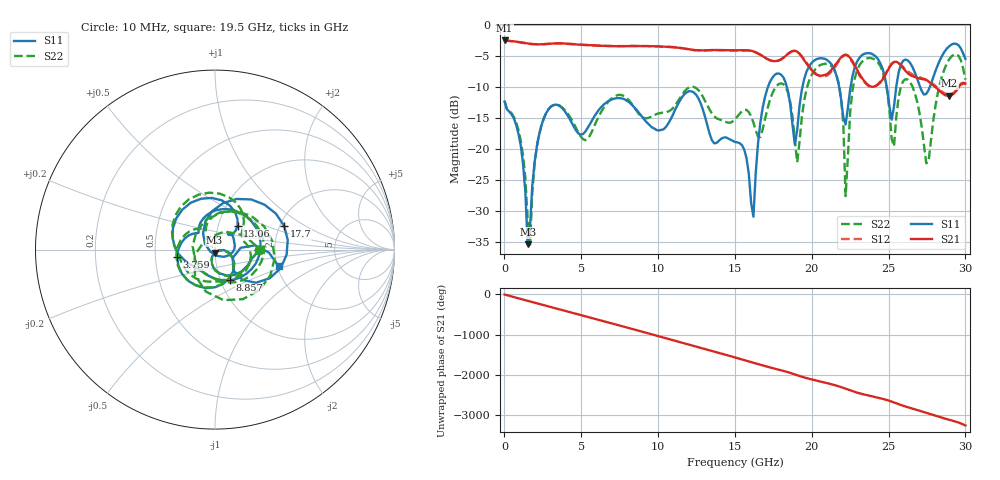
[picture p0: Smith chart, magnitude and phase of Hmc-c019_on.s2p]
!Hittite Microwave Corporation
!20 Alpha Rd
!Chelmsford, MA 01824
!Tel: 978-250-3343
!Fax: 978-250-3373
!Device: HMC-C019, DC - 20 GHz GaAs MMIC SPsT Non-Reflective Switch Module
!Misc: Bias: +5VDC, INSERTION LOSS STATE
# GHZ S DB R 50.0
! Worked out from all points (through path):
!   201 points, 10 MHz to 30 GHz, reference 50 ohm
!   highest |S21| = -2.45 dB at 10 MHz (marker M1); lowest = -11.4 dB at 28.95 GHz (marker M2)
!   group delay of S21, straight-line fit = 300 ps
!   lowest |S11| = -35.3 dB at 1.51 GHz (marker M3), VSWR 1.03, Z = 49.7 - j1.69 ohm
!   |S11| at or under -10 dB: start of sweep to 17.14 GHz; 18.38 GHz to 19.39 GHz (1.006 GHz wide, 5.33 % of centre); 21.78 GHz to 22.52 GHz (739.3 MHz wide, 3.34 % of centre) (the widest 3 of 5)
!   |S22| runs from -35.6 to -4.7 dB; largest |S21 - S12| = 0.018
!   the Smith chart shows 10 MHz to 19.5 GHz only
!   S11 on the Smith chart (normalised r, x): 10 MHz: 1.64, -0.02; 3.759 GHz: 0.65, -0.06; 8.857 GHz: 1.11, -0.39; 13.06 GHz: 1.24, +0.34; 17.7 GHz: 2.11, +0.67; 19.5 GHz: 2.04, -0.44
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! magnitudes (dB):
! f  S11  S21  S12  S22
! 10 MHz  -12.3  -2.4  -2.4  -12.2
! 1.06 GHz  -19.4  -2.8  -2.8  -18.6
! 1.51 GHz  -35.3  -2.9  -2.9  -31.3
! 2.259 GHz  -17.6  -3.1  -3.1  -17.6
! 3.759 GHz  -13.3  -2.9  -3.0  -13.3
! 5.108 GHz  -17.6  -3.1  -3.2  -18.4
! 8.857 GHz  -14.4  -3.4  -3.4  -14.6
! 10.06 GHz  -17.0  -3.4  -3.4  -14.2
! 13.06 GHz  -14.8  -4.0  -4.0  -12.2
! 15.15 GHz  -18.9  -4.0  -4.1  -14.7
! 16.2 GHz  -30.9  -4.2  -4.2  -15.7
! 17.7 GHz  -7.8  -5.8  -5.8  -9.8
! 18.9 GHz  -19.2  -4.1  -4.1  -18.7
! 19.5 GHz  -8.7  -5.6  -5.5  -12.2
! 20.1 GHz  -5.8  -7.5  -7.4  -7.5
! 21.75 GHz  -9.5  -5.7  -5.8  -9.3
! 22.2 GHz  -16.0  -4.7  -4.8  -27.5
! 23.1 GHz  -5.2  -7.8  -8.1  -6.5
! 25.05 GHz  -13.0  -6.8  -6.7  -13.6
! 27.6 GHz  -10.5  -9.1  -9.0  -22.0
! 28.95 GHz  -3.4  -11.4  -11.2  -5.5
! 30 GHz  -5.4  -9.4  -9.5  -8.8
